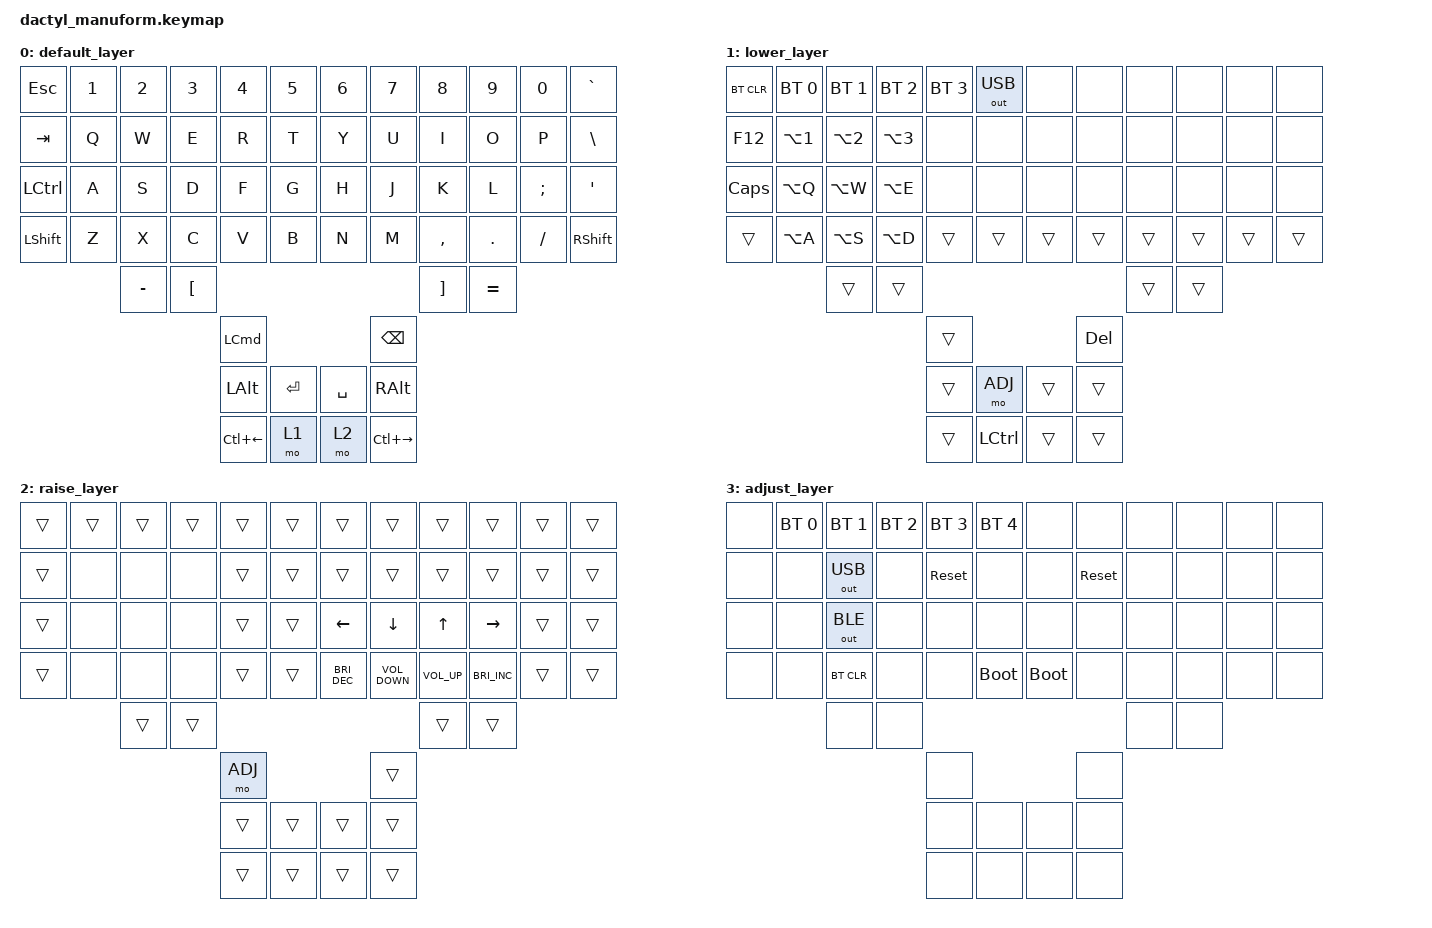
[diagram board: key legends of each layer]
#include <behaviors.dtsi>
#include <dt-bindings/zmk/bt.h>
#include <dt-bindings/zmk/keys.h>
#include <dt-bindings/zmk/outputs.h>

#define DEFAULT 0
#define LWR 1
#define RSE 2
#define ADJ 3

#define HYPER(key) LS(LC(LA(LG(key))))
#define MEH(key)   LS(LC(LA(key)))

&sl { release-after-ms = <5000>; };

&kscan0 {
    debounce-press-ms = <30>;
    debounce-release-ms = <30>;
};

/ {
    keymap {
        compatible = "zmk,keymap";

        default_layer {
            bindings = <
&kp ESC         &kp N1  &kp N2     &kp N3    &kp N4            &kp N5       &kp N6     &kp N7         &kp N8     &kp N9     &kp N0    &kp GRAVE
&kp TAB         &kp Q   &kp W      &kp E     &kp R             &kp T        &kp Y      &kp U          &kp I      &kp O      &kp P     &kp BSLH
&kp LCTRL       &kp A   &kp S      &kp D     &kp F             &kp G        &kp H      &kp J          &kp K      &kp L      &kp SEMI  &kp SQT
&kp LEFT_SHIFT  &kp Z   &kp X      &kp C     &kp V             &kp B        &kp N      &kp M          &kp COMMA  &kp DOT    &kp FSLH  &kp RIGHT_SHIFT
                        &kp MINUS  &kp LBKT                                                           &kp RBKT   &kp EQUAL
                                             &kp LEFT_COMMAND                          &kp BACKSPACE
                                             &kp LEFT_ALT      &kp ENTER    &kp SPACE  &kp RIGHT_ALT
                                             &kp LC(LEFT)      &mo 1        &mo 2      &kp LC(RIGHT)
            >;
        };

        lower_layer {
            bindings = <
&bt BT_CLR  &bt BT_SEL 0      &bt BT_SEL 1      &bt BT_SEL 2      &bt BT_SEL 3  &out OUT_USB        &none   &none       &none   &none   &none   &none
&kp F12     &kp LA(NUMBER_1)  &kp LA(NUMBER_2)  &kp LA(NUMBER_3)  &none         &none               &none   &none       &none   &none   &none   &none
&kp CAPS    &kp LA(Q)         &kp LA(W)         &kp LA(E)         &none         &none               &none   &none       &none   &none   &none   &none
&trans      &kp LA(A)         &kp LA(S)         &kp LA(D)         &trans        &trans              &trans  &trans      &trans  &trans  &trans  &trans
                              &trans            &trans                                                                  &trans  &trans
                                                                  &trans                                    &kp DELETE
                                                                  &trans        &mo ADJ             &trans  &trans
                                                                  &trans        &kp LEFT_CONTROL    &trans  &trans
            >;
        };

        raise_layer {
            bindings = <
&trans  &trans  &trans  &trans  &trans   &trans    &trans                &trans             &trans           &trans                &trans  &trans
&trans  &none   &none   &none   &trans   &trans    &trans                &trans             &trans           &trans                &trans  &trans
&trans  &none   &none   &none   &trans   &trans    &kp LEFT_ARROW        &kp DOWN           &kp UP           &kp RIGHT             &trans  &trans
&trans  &none   &none   &none   &trans   &trans    &kp C_BRIGHTNESS_DEC  &kp C_VOLUME_DOWN  &kp C_VOLUME_UP  &kp C_BRIGHTNESS_INC  &trans  &trans
                &trans  &trans                                                              &trans           &trans
                                &mo ADJ                                  &trans
                                &trans   &trans    &trans                &trans
                                &trans   &trans    &trans                &trans
            >;
        };

        adjust_layer {
            bindings = <
&none  &bt BT_SEL 0  &bt BT_SEL 1  &bt BT_SEL 2  &bt BT_SEL 3  &bt BT_SEL 4    &none        &none       &none  &none  &none  &none
&none  &none         &out OUT_USB  &none         &sys_reset    &none           &none        &sys_reset  &none  &none  &none  &none
&none  &none         &out OUT_BLE  &none         &none         &none           &none        &none       &none  &none  &none  &none
&none  &none         &bt BT_CLR    &none         &none         &bootloader     &bootloader  &none       &none  &none  &none  &none
                     &none         &none                                                                &none  &none
                                                 &none                                      &none
                                                 &none         &none           &none        &none
                                                 &none         &none           &none        &none
            >;
        };
    };
};
